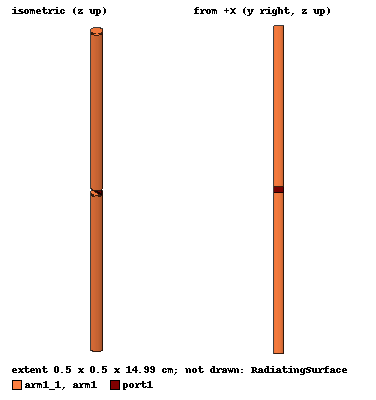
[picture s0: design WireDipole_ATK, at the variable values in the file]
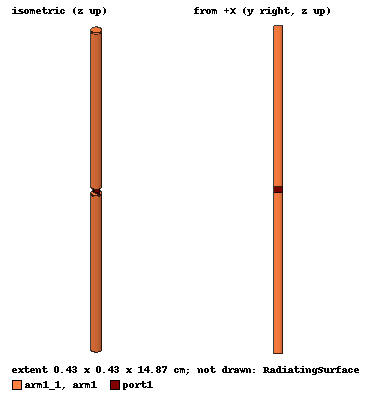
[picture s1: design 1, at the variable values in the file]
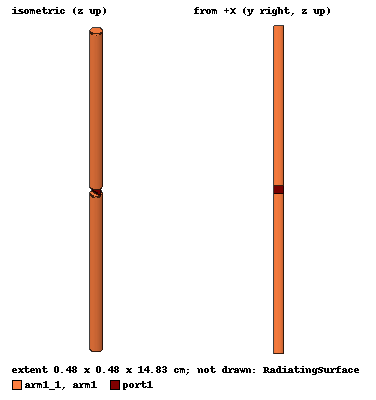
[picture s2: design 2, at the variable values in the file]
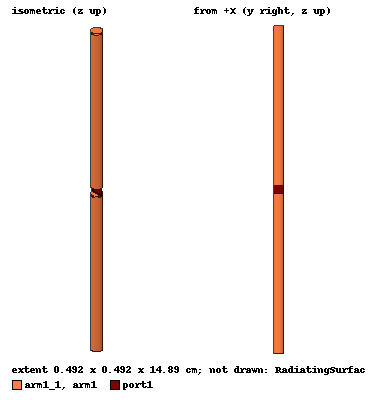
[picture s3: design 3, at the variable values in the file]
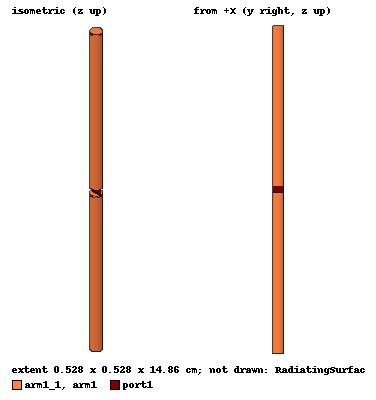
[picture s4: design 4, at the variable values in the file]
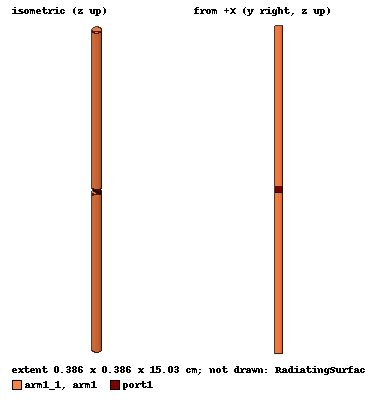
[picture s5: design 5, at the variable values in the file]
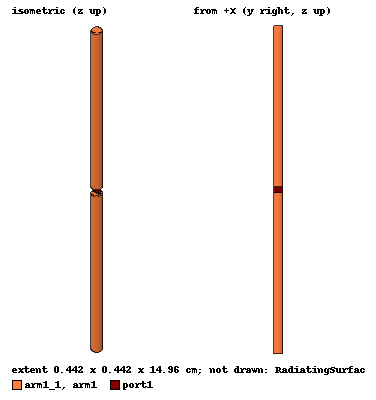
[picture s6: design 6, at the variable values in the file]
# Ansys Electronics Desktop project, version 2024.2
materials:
  vacuum: permittivity=1
  pec: conductivity=1e+30

design WireDipole_ATK (HFSS, HFSS Hybrid Terminal Network, model units cm)
options: Allow_Material_Override Save_Adaptive_support_files open_region{BoundaryType=0 OpFreq=0.9GHz}
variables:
  # --Antenna Dimensions
  dipole_length = 14.99cm
  wire_rad = 0.25cm
  port_gap = 0.25cm
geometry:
  arm1 [pec] = cylinder(axis=Z, base_centre=(0cm, 0cm, port_gap/2), radius=wire_rad, height=dipole_length/2-port_gap/2)
  arm1_1 [pec] = arm1.duplicate_around_axis(axis=X, angle=180deg, total=2)
  port1 = rectangle(corner=(0cm, -wire_rad, -port_gap/2), y_size=wire_rad*2, z_size=port_gap)
  RadiatingSurface [vacuum] = region(absolute_offset=11.111111cm on all sides)
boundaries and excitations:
  AutoOpen1: Radiation Objects=RadiatingSurface
  port1_T1: Terminal port=1 Edges=port1.edge(at (0, 0, -0.125)) TerminalResistance=50ohm
  1: Lumped Port Faces=port1.face LumpedPortType=Terminal Impedance=50ohm
  reference conductors: arm1
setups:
  ATK_Solution: HfssDriven Frequency=0.9GHz MaxDeltaS=0.02 MaximumPasses=15 MinimumPasses=1 MinimumConvergedPasses=1 PercentRefinement=30 BasisOrder=1 PortAccuracy=2 DrivenSolverType="Direct Solver" IESolverType=ACA
    sweep SParam_Sweep: 0.45GHz to 1.35GHz step 0.001GHz; Type=Fast SaveFields
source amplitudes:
  1:1: 1V 0deg
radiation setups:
  3D: Infinite Sphere Theta=0deg..180deg step 2deg Phi=-180deg..180deg step 2deg
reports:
  S11: dB(St(port1_T1,port1_T1)) vs Freq on ATK_Solution : SParam_Sweep; markers MY1 at y=-10

design 1 (HFSS, HFSS Hybrid Terminal Network, model units cm)
options: Allow_Material_Override Save_Adaptive_support_files open_region{BoundaryType=0 OpFreq=0.9GHz}
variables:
  # --Antenna Dimensions
  dipole_length = 14.872cm
  wire_rad = 0.215cm
  port_gap = 0.31cm
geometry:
  arm1 [pec] = cylinder(axis=Z, base_centre=(0cm, 0cm, port_gap/2), radius=wire_rad, height=dipole_length/2-port_gap/2)
  arm1_1 [pec] = arm1.duplicate_around_axis(axis=X, angle=180deg, total=2)
  port1 = rectangle(corner=(0cm, -wire_rad, -port_gap/2), y_size=wire_rad*2, z_size=port_gap)
  RadiatingSurface [vacuum] = region(absolute_offset=11.111111cm on all sides)
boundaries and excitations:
  AutoOpen1: Radiation Objects=RadiatingSurface
  port1_T1: Terminal port=1 Edges=port1.edge(at (0, 0, -0.155)) TerminalResistance=50ohm
  1: Lumped Port Faces=port1.face LumpedPortType=Terminal Impedance=50ohm
  reference conductors: arm1
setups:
  ATK_Solution: HfssDriven Frequency=0.9GHz MaxDeltaS=0.02 MaximumPasses=15 MinimumPasses=1 MinimumConvergedPasses=1 PercentRefinement=30 BasisOrder=1 PortAccuracy=2 DrivenSolverType="Direct Solver" IESolverType=ACA
    sweep SParam_Sweep: 0.45GHz to 1.35GHz step 0.001GHz; Type=Fast SaveFields
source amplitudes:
  1:1: 1V 0deg
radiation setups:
  3D: Infinite Sphere Theta=0deg..180deg step 2deg Phi=-180deg..180deg step 2deg
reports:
  S11: dB(St(port1_T1,port1_T1)) vs Freq on ATK_Solution : SParam_Sweep; markers MY1 at y=-10

design 2 (HFSS, HFSS Hybrid Terminal Network, model units cm)
options: Allow_Material_Override Save_Adaptive_support_files open_region{BoundaryType=0 OpFreq=0.9GHz}
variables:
  # --Antenna Dimensions
  dipole_length = 14.832cm
  wire_rad = 0.24cm
  port_gap = 0.336cm
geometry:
  arm1 [pec] = cylinder(axis=Z, base_centre=(0cm, 0cm, port_gap/2), radius=wire_rad, height=dipole_length/2-port_gap/2)
  arm1_1 [pec] = arm1.duplicate_around_axis(axis=X, angle=180deg, total=2)
  port1 = rectangle(corner=(0cm, -wire_rad, -port_gap/2), y_size=wire_rad*2, z_size=port_gap)
  RadiatingSurface [vacuum] = region(absolute_offset=11.111111cm on all sides)
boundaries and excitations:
  AutoOpen1: Radiation Objects=RadiatingSurface
  port1_T1: Terminal port=1 Edges=port1.edge(at (0, 0, -0.168)) TerminalResistance=50ohm
  1: Lumped Port Faces=port1.face LumpedPortType=Terminal Impedance=50ohm
  reference conductors: arm1
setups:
  ATK_Solution: HfssDriven Frequency=0.9GHz MaxDeltaS=0.02 MaximumPasses=15 MinimumPasses=1 MinimumConvergedPasses=1 PercentRefinement=30 BasisOrder=1 PortAccuracy=2 DrivenSolverType="Direct Solver" IESolverType=ACA
    sweep SParam_Sweep: 0.45GHz to 1.35GHz step 0.001GHz; Type=Fast SaveFields
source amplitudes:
  1:1: 1V 0deg
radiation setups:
  3D: Infinite Sphere Theta=0deg..180deg step 2deg Phi=-180deg..180deg step 2deg
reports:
  S11: dB(St(port1_T1,port1_T1)) vs Freq on ATK_Solution : SParam_Sweep; markers MY1 at y=-10

design 3 (HFSS, HFSS Hybrid Terminal Network, model units cm)
options: Allow_Material_Override Save_Adaptive_support_files open_region{BoundaryType=0 OpFreq=0.9GHz}
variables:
  # --Antenna Dimensions
  dipole_length = 14.888cm
  wire_rad = 0.246cm
  port_gap = 0.346cm
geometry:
  arm1 [pec] = cylinder(axis=Z, base_centre=(0cm, 0cm, port_gap/2), radius=wire_rad, height=dipole_length/2-port_gap/2)
  arm1_1 [pec] = arm1.duplicate_around_axis(axis=X, angle=180deg, total=2)
  port1 = rectangle(corner=(0cm, -wire_rad, -port_gap/2), y_size=wire_rad*2, z_size=port_gap)
  RadiatingSurface [vacuum] = region(absolute_offset=11.111111cm on all sides)
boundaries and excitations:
  AutoOpen1: Radiation Objects=RadiatingSurface
  port1_T1: Terminal port=1 Edges=port1.edge(at (0, 0, -0.173)) TerminalResistance=50ohm
  1: Lumped Port Faces=port1.face LumpedPortType=Terminal Impedance=50ohm
  reference conductors: arm1
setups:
  ATK_Solution: HfssDriven Frequency=0.9GHz MaxDeltaS=0.02 MaximumPasses=15 MinimumPasses=1 MinimumConvergedPasses=1 PercentRefinement=30 BasisOrder=1 PortAccuracy=2 DrivenSolverType="Direct Solver" IESolverType=ACA
    sweep SParam_Sweep: 0.45GHz to 1.35GHz step 0.001GHz; Type=Fast SaveFields
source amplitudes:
  1:1: 1V 0deg
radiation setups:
  3D: Infinite Sphere Theta=0deg..180deg step 2deg Phi=-180deg..180deg step 2deg
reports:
  S11: dB(St(port1_T1,port1_T1)) vs Freq on ATK_Solution : SParam_Sweep; markers MY1 at y=-10

design 4 (HFSS, HFSS Hybrid Terminal Network, model units cm)
options: Allow_Material_Override Save_Adaptive_support_files open_region{BoundaryType=0 OpFreq=0.9GHz}
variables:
  # --Antenna Dimensions
  dipole_length = 14.863cm
  wire_rad = 0.264cm
  port_gap = 0.308cm
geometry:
  arm1 [pec] = cylinder(axis=Z, base_centre=(0cm, 0cm, port_gap/2), radius=wire_rad, height=dipole_length/2-port_gap/2)
  arm1_1 [pec] = arm1.duplicate_around_axis(axis=X, angle=180deg, total=2)
  port1 = rectangle(corner=(0cm, -wire_rad, -port_gap/2), y_size=wire_rad*2, z_size=port_gap)
  RadiatingSurface [vacuum] = region(absolute_offset=11.111111cm on all sides)
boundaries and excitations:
  AutoOpen1: Radiation Objects=RadiatingSurface
  port1_T1: Terminal port=1 Edges=port1.edge(at (0, 0, -0.154)) TerminalResistance=50ohm
  1: Lumped Port Faces=port1.face LumpedPortType=Terminal Impedance=50ohm
  reference conductors: arm1
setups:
  ATK_Solution: HfssDriven Frequency=0.9GHz MaxDeltaS=0.02 MaximumPasses=15 MinimumPasses=1 MinimumConvergedPasses=1 PercentRefinement=30 BasisOrder=1 PortAccuracy=2 DrivenSolverType="Direct Solver" IESolverType=ACA
    sweep SParam_Sweep: 0.45GHz to 1.35GHz step 0.001GHz; Type=Fast SaveFields
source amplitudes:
  1:1: 1V 0deg
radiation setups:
  3D: Infinite Sphere Theta=0deg..180deg step 2deg Phi=-180deg..180deg step 2deg
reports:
  S11: dB(St(port1_T1,port1_T1)) vs Freq on ATK_Solution : SParam_Sweep; markers MY1 at y=-10

design 5 (HFSS, HFSS Hybrid Terminal Network, model units cm)
options: Allow_Material_Override Save_Adaptive_support_files open_region{BoundaryType=0 OpFreq=0.9GHz}
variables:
  # --Antenna Dimensions
  dipole_length = 15.028cm
  wire_rad = 0.193cm
  port_gap = 0.26cm
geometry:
  arm1 [pec] = cylinder(axis=Z, base_centre=(0cm, 0cm, port_gap/2), radius=wire_rad, height=dipole_length/2-port_gap/2)
  arm1_1 [pec] = arm1.duplicate_around_axis(axis=X, angle=180deg, total=2)
  port1 = rectangle(corner=(0cm, -wire_rad, -port_gap/2), y_size=wire_rad*2, z_size=port_gap)
  RadiatingSurface [vacuum] = region(absolute_offset=11.111111cm on all sides)
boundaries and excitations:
  AutoOpen1: Radiation Objects=RadiatingSurface
  port1_T1: Terminal port=1 Edges=port1.edge(at (0, 0, -0.13)) TerminalResistance=50ohm
  1: Lumped Port Faces=port1.face LumpedPortType=Terminal Impedance=50ohm
  reference conductors: arm1
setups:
  ATK_Solution: HfssDriven Frequency=0.9GHz MaxDeltaS=0.02 MaximumPasses=15 MinimumPasses=1 MinimumConvergedPasses=1 PercentRefinement=30 BasisOrder=1 PortAccuracy=2 DrivenSolverType="Direct Solver" IESolverType=ACA
    sweep SParam_Sweep: 0.45GHz to 1.35GHz step 0.001GHz; Type=Fast SaveFields
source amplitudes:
  1:1: 1V 0deg
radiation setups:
  3D: Infinite Sphere Theta=0deg..180deg step 2deg Phi=-180deg..180deg step 2deg
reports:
  S11: dB(St(port1_T1,port1_T1)) vs Freq on ATK_Solution : SParam_Sweep; markers MY1 at y=-10

design 6 (HFSS, HFSS Hybrid Terminal Network, model units cm)
options: Allow_Material_Override Save_Adaptive_support_files open_region{BoundaryType=0 OpFreq=0.9GHz}
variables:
  # --Antenna Dimensions
  dipole_length = 14.96cm
  wire_rad = 0.221cm
  port_gap = 0.286cm
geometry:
  arm1 [pec] = cylinder(axis=Z, base_centre=(0cm, 0cm, port_gap/2), radius=wire_rad, height=dipole_length/2-port_gap/2)
  arm1_1 [pec] = arm1.duplicate_around_axis(axis=X, angle=180deg, total=2)
  port1 = rectangle(corner=(0cm, -wire_rad, -port_gap/2), y_size=wire_rad*2, z_size=port_gap)
  RadiatingSurface [vacuum] = region(absolute_offset=11.111111cm on all sides)
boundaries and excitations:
  AutoOpen1: Radiation Objects=RadiatingSurface
  port1_T1: Terminal port=1 Edges=port1.edge(at (0, 0, -0.143)) TerminalResistance=50ohm
  1: Lumped Port Faces=port1.face LumpedPortType=Terminal Impedance=50ohm
  reference conductors: arm1
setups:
  ATK_Solution: HfssDriven Frequency=0.9GHz MaxDeltaS=0.02 MaximumPasses=15 MinimumPasses=1 MinimumConvergedPasses=1 PercentRefinement=30 BasisOrder=1 PortAccuracy=2 DrivenSolverType="Direct Solver" IESolverType=ACA
    sweep SParam_Sweep: 0.45GHz to 1.35GHz step 0.001GHz; Type=Fast SaveFields
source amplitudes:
  1:1: 1V 0deg
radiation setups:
  3D: Infinite Sphere Theta=0deg..180deg step 2deg Phi=-180deg..180deg step 2deg
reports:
  S11: dB(St(port1_T1,port1_T1)) vs Freq on ATK_Solution : SParam_Sweep; markers MY1 at y=-10
